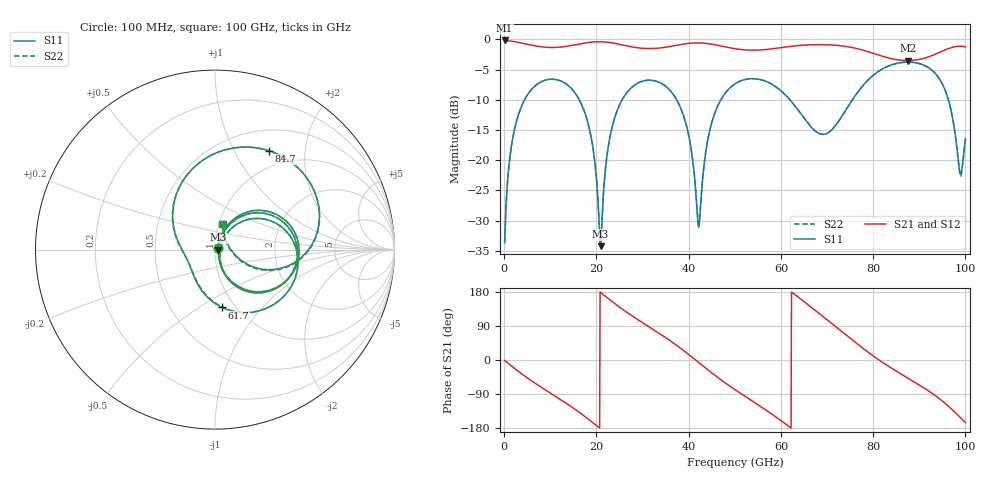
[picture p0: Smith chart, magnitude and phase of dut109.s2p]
! Touchstone file exported from HFSS 2026.1.0
!  File:  C:/ffzhzh/LocalFiles/Ansys_Project_Files/temp_train_TSV_RDL_109_1783634660_33328.aedt
!  Generated:  06:13:18 AM Jul 10, 2026
!  Design:  TSV_RDL
!  Project:  temp_train_TSV_RDL_109_1783634660_33328
! Variables:
!  h_bsmrdl = 2.02um
!  h_ox = 20um
!  h_rdl = 5um
!  h_sub = 99.43um
!  h_tmrdl = 2.57um
!  h_tsv = 99.43um
!  h_via = 3um
!  l_bsmrdl = 156.99um
!  l_sub = 2643.78um
!  l_tmrdl = 413.36um
!  m_sub = 200um
!  pitch = 48.12um
!  r_tsv = 6.96um
!  s_tmrdl = 10um
!  w_bsmrdl = 10um
!  w_sub = 500um
!  w_tmrdl = 29.79um
!  x_tsv_center1 = 428.255um
!  x_tsv_center2 = 595.245um
!  x_tsv_center3 = 1038.395um
!  x_tsv_center4 = 1205.385um
!  x_tsv_center5 = 1648.535um
!  x_tsv_center6 = 1815.525um
# GHz S MA R 50.000000
! Terminal data exported
! Port[1] = TM_RDL1_1_T1
! Port[2] = TM_RDL5_1_T1
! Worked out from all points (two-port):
!   1000 points, 100 MHz to 100 GHz, reference 50 ohm
!   highest |S21| = -0.16 dB at 100 MHz (marker M1); lowest = -3.5 dB at 87.5 GHz (marker M2)
!   |S21| within 3 dB of the highest: start of sweep to 83.93 GHz; 90.78 GHz to end of sweep
!   lowest |S11| = -34.2 dB at 20.9 GHz (marker M3), VSWR 1.04, Z = 52 - j0.0177 ohm
!   |S11| at or under -10 dB: 16.3 GHz to 25.57 GHz (9.271 GHz wide, 44.3 % of centre); 37.41 GHz to 46.98 GHz (9.572 GHz wide, 22.7 % of centre); 61.96 GHz to 75.49 GHz (13.53 GHz wide, 19.7 % of centre) (the widest 3 of 5)
!   |S22| runs from -33.9 to -3.7 dB; largest |S21 - S12| = 1.7e-14
!   S11 on the Smith chart (normalised r, x): 100 MHz: 1.04, +0.02; 61.7 GHz: 0.87, -0.63; 84.7 GHz: 0.77, +1.39; 100 GHz: 1.04, +0.31
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0.1  0.02077 25.5  0.9814 -1.1  0.9814 -1.1  0.02077 25.5
! Gamma 0 0 0 0
! Port Impedance 50 0 50 0
1.8  0.1478 62.8  0.9651 -17.8  0.9651 -17.8  0.1478 62.9
5  0.3455 38.9  0.913 -47.0  0.913 -47.0  0.3455 38.9
11.1  0.4664 -7.3  0.8595 -95.6  0.8595 -95.6  0.4664 -7.3
16.8  0.289 -51.6  0.9248 -142.6  0.9248 -142.6  0.289 -51.4
20.9  0.01946 -0.5  0.9578 178.4  0.9578 178.4  0.02017 -0.4
24.7  0.2691 47.3  0.9162 142.4  0.9162 142.4  0.2692 47.3
33.4  0.4456 -18.5  0.8472 72.0  0.8472 72.0  0.4456 -18.3
39.1  0.2204 -61.9  0.9187 23.1  0.9187 23.1  0.2206 -61.4
42.2  0.02788 -3.6  0.9371 -6.8  0.9371 -6.8  0.02999 -3.9
45  0.2039 47.7  0.9139 -33.9  0.9139 -33.9  0.2041 47.2
50.1  0.4304 8.6  0.838 -78.7  0.838 -78.7  0.4304 8.6
61.7  0.3244 -83.2  0.8729 -175.0  0.8729 -175.0  0.3246 -82.2
66.7  0.1862 -130.1  0.9041 138.1  0.9041 138.1  0.1863 -128.1
73.2  0.2308 160.5  0.8855 75.1  0.8855 75.1  0.2302 161.7
78.1  0.4285 113.8  0.809 28.0  0.809 28.0  0.4282 114.0
83.4  0.6045 70.6  0.7025 -17.1  0.7025 -17.1  0.6045 70.4
84.7  0.6279 61.2  0.6851 -27.0  0.6851 -27.0  0.6281 61.0
87.5  0.6495 42.0  0.669 -47.5  0.669 -47.5  0.6497 41.6
95.2  0.4126 -12.9  0.807 -110.1  0.807 -110.1  0.4127 -13.6
98.8  0.07949 12.9  0.8786 -150.7  0.8786 -150.7  0.07657 11.6
100  0.1509 73.8  0.8684 -165.1  0.8684 -165.1  0.149 74.4
